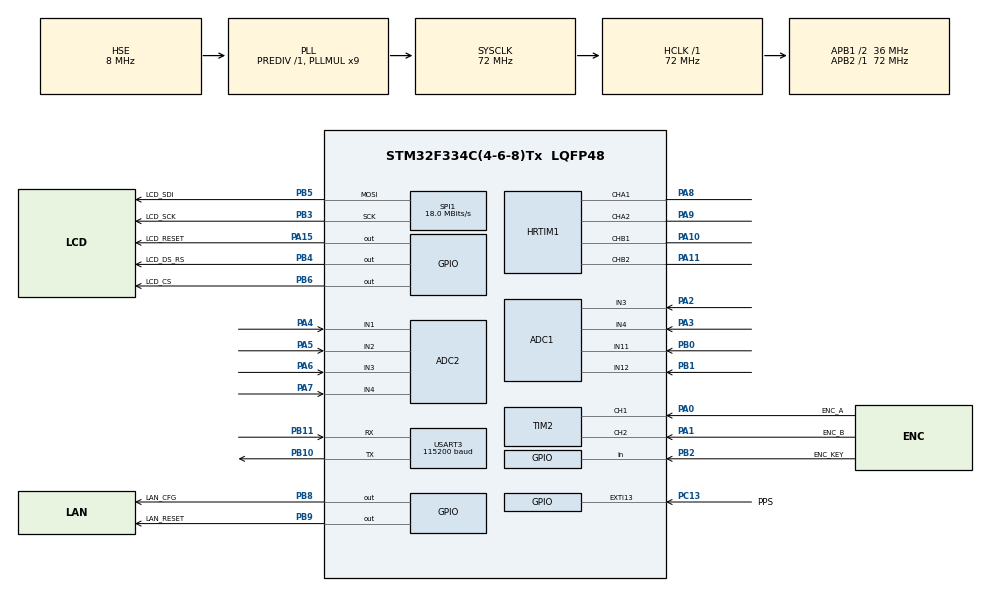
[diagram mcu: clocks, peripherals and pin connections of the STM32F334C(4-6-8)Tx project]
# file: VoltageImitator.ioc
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ADC1.Channel-1\#ChannelRegularConversion=ADC_CHANNEL_3
ADC1.Channel-2\#ChannelRegularConversion=ADC_CHANNEL_11
ADC1.ClockPrescaler=ADC_CLOCK_SYNC_PCLK_DIV1
ADC1.DMAContinuousRequests=ENABLE
ADC1.EnableInjectedConversion=DISABLE
ADC1.ExternalTrigConv=ADC_EXTERNALTRIGCONVHRTIM_TRG1
ADC1.LowPowerAutoWait=DISABLE
ADC1.Mode=ADC_DUALMODE_REGSIMULT
ADC1.NbrOfConversion=2
ADC1.NbrOfConversionFlag=1
ADC1.Offset-1\#ChannelRegularConversion=0
ADC1.Offset-2\#ChannelRegularConversion=0
ADC1.OffsetNumber-1\#ChannelRegularConversion=ADC_OFFSET_NONE
ADC1.OffsetNumber-2\#ChannelRegularConversion=ADC_OFFSET_NONE
ADC1.Rank-1\#ChannelRegularConversion=1
ADC1.Rank-2\#ChannelRegularConversion=2
ADC1.SamplingTime-1\#ChannelRegularConversion=ADC_SAMPLETIME_61CYCLES_5
ADC1.SamplingTime-2\#ChannelRegularConversion=ADC_SAMPLETIME_61CYCLES_5
ADC1.SamplingTimeOPAMP-2\#ChannelRegularConversion=ADC_SAMPLETIME_61CYCLES_5
ADC1.SequencerNbRanks=2
ADC1.SingleDiff-1\#ChannelRegularConversion=ADC_DIFFERENTIAL_ENDED
ADC1.SingleDiff-2\#ChannelRegularConversion=ADC_DIFFERENTIAL_ENDED
ADC1.SubFamily=STM32F334x8
ADC1.master=1
ADC2.Channel-1\#ChannelRegularConversion=ADC_CHANNEL_1
ADC2.Channel-2\#ChannelRegularConversion=ADC_CHANNEL_3
ADC2.ClockPrescaler=ADC_CLOCK_SYNC_PCLK_DIV1
ADC2.DMAContinuousRequests=DISABLE
ADC2.EnableInjectedConversion=DISABLE
ADC2.Mode=ADC_DUALMODE_REGSIMULT
ADC2.NbrOfConversion=2
ADC2.NbrOfConversionFlag=1
ADC2.Offset-1\#ChannelRegularConversion=0
ADC2.Offset-2\#ChannelRegularConversion=0
ADC2.OffsetNumber-1\#ChannelRegularConversion=ADC_OFFSET_NONE
ADC2.OffsetNumber-2\#ChannelRegularConversion=ADC_OFFSET_NONE
ADC2.Rank-1\#ChannelRegularConversion=1
ADC2.Rank-2\#ChannelRegularConversion=2
ADC2.SamplingTime-1\#ChannelRegularConversion=ADC_SAMPLETIME_61CYCLES_5
ADC2.SamplingTime-2\#ChannelRegularConversion=ADC_SAMPLETIME_61CYCLES_5
ADC2.SamplingTimeOPAMP-2\#ChannelRegularConversion=ADC_SAMPLETIME_61CYCLES_5
ADC2.SingleDiff-1\#ChannelRegularConversion=ADC_DIFFERENTIAL_ENDED
ADC2.SingleDiff-2\#ChannelRegularConversion=ADC_DIFFERENTIAL_ENDED
ADC2.SubFamily=STM32F334x8
Dma.ADC1.0.Direction=DMA_PERIPH_TO_MEMORY
Dma.ADC1.0.Instance=DMA1_Channel1
Dma.ADC1.0.MemDataAlignment=DMA_MDATAALIGN_WORD
Dma.ADC1.0.MemInc=DMA_MINC_ENABLE
Dma.ADC1.0.Mode=DMA_CIRCULAR
Dma.ADC1.0.PeriphDataAlignment=DMA_PDATAALIGN_WORD
Dma.ADC1.0.PeriphInc=DMA_PINC_DISABLE
Dma.ADC1.0.Priority=DMA_PRIORITY_VERY_HIGH
Dma.Request0=ADC1
HRTIM1.ADCTrigger1_Source1=HRTIM_ADCTRIGGEREVENT13_MASTER_PERIOD
HRTIM1.ADCTrigger_Id1=HRTIM_ADCTRIGGER_1
HRTIM1.BURSTMODETrigger_Source1=HRTIM_BURSTMODETRIGGER_TIMERA_RESET
HRTIM1.BurstDMAconfig-Output_TA1TA2=HRTIM_TIMERINDEX_TIMER_A
HRTIM1.ClockSource=HRTIM_BURSTMODECLOCKSOURCE_FHRTIM
HRTIM1.CompareUnit1-MasterTimer=__NULL
HRTIM1.CompareUnit1-Output_TA1TA2=HRTIM_COMPAREUNIT_1
HRTIM1.CompareUnit1-Output_TB1TB2=HRTIM_COMPAREUNIT_1
HRTIM1.CompareUnit2-Output_TA1TA2=HRTIM_COMPAREUNIT_2
HRTIM1.CompareValue1-Output_TA1TA2=96
HRTIM1.CompareValue1-Output_TB1TB2=PWM_PERIOD/5
HRTIM1.CompareValue2-Output_TA1TA2=96
HRTIM1.Deadtimeconfig-Output_TA1TA2=__NULL
HRTIM1.Enable=HRTIM_BURSTMODECTL_ENABLED
HRTIM1.Mode=HRTIM_BURSTMODE_CONTINOUS
HRTIM1.NumberADCTriggerSource1=1
HRTIM1.NumberBURSTMODE_TriggerSources=1
HRTIM1.NumberDMARequests_TA=0
HRTIM1.NumberRegisters_BURSTDMA-Output_TA1TA2=2
HRTIM1.NumberResetSource1-Output_TA1TA2=1
HRTIM1.NumberResetSource1-Output_TB1TB2=1
HRTIM1.NumberResetSource2_TA=1
HRTIM1.NumberSetSource1-Output_TA1TA2=1
HRTIM1.NumberSetSource1-Output_TB1TB2=1
HRTIM1.NumberSetSource2_TA=1
HRTIM1.NumberUpdateTrigger-Output_TA1TA2=1
HRTIM1.Periode_MASTER=PWM_PERIOD
HRTIM1.Periode_TA=PWM_PERIOD
HRTIM1.Periode_TB=PWM_PERIOD
HRTIM1.Polarity1-Output_TA1TA2=HRTIM_OUTPUTPOLARITY_HIGH
HRTIM1.Polarity2-Output_TA1TA2=HRTIM_OUTPUTPOLARITY_HIGH
HRTIM1.PreloadEnable-MasterTimer=HRTIM_PRELOAD_ENABLED
HRTIM1.PreloadEnable-Output_TA1TA2=HRTIM_PRELOAD_ENABLED
HRTIM1.PreloadEnable-Output_TB1TB2=HRTIM_PRELOAD_ENABLED
HRTIM1.PrescalerRatio_MASTER=HRTIM_PRESCALERRATIO_MUL4
HRTIM1.PrescalerRatio_TA=HRTIM_PRESCALERRATIO_MUL32
HRTIM1.RegistersToUpdate_Source1-Output_TA1TA2=HRTIM_BURSTDMA_CMP1
HRTIM1.RegistersToUpdate_Source2-Output_TA1TA2=HRTIM_BURSTDMA_CMP2
HRTIM1.ResetOutput1_Source1-Output_TA1TA2=HRTIM_OUTPUTRESET_TIMPER
HRTIM1.ResetOutput1_Source1-Output_TB1TB2=HRTIM_OUTPUTRESET_TIMCMP1
HRTIM1.ResetOutput2_Source1-Output_TA1TA2=HRTIM_OUTPUTRESET_TIMPER
HRTIM1.ResetUpdate-Output_TA1TA2=HRTIM_TIMUPDATEONRESET_ENABLED
HRTIM1.ResetUpdate-Output_TB1TB2=HRTIM_TIMUPDATEONRESET_ENABLED
HRTIM1.SetOutput1_Source1-Output_TA1TA2=HRTIM_OUTPUTSET_TIMCMP1
HRTIM1.SetOutput1_Source1-Output_TB1TB2=HRTIM_OUTPUTSET_TIMPER
HRTIM1.SetOutput2_Source1-Output_TA1TA2=HRTIM_OUTPUTSET_TIMCMP2
HRTIM1.UpdateGating-Output_TA1TA2=HRTIM_UPDATEGATING_INDEPENDENT
HRTIM1.UpdateTrigger1-Output_TA1TA2=HRTIM_TIMUPDATETRIGGER_TIMER_A
Mcu.Family=STM32F3
Mcu.Name=STM32F334C(4-6-8)Tx
Mcu.Package=LQFP48
Mcu.UserConstants=PWM_PERIOD,46080
NVIC.DMA1_Channel1_IRQn=true\:0\:0\:false\:false\:true\:false\:true\:true
NVIC.PriorityGroup=NVIC_PRIORITYGROUP_4
NVIC.TIM1_UP_TIM16_IRQn=true\:15\:0\:false\:false\:true\:false\:true\:true
NVIC.TimeBase=TIM1_UP_TIM16_IRQn
NVIC.TimeBaseIP=TIM1
NVIC.USART3_IRQn=true\:0\:0\:false\:false\:true\:true\:true\:true
PA0.GPIO_Label=ENC_A
PA0.Signal=S_TIM2_CH1_ETR
PA1.GPIO_Label=ENC_B
PA1.Signal=S_TIM2_CH2
PA10.Mode=Output_TB1TB2
PA10.Signal=HRTIM1_CHB1
PA11.Mode=Output_TB1TB2
PA11.Signal=HRTIM1_CHB2
PA13.Mode=Serial_Wire
PA13.Signal=SYS_JTMS-SWDIO
PA14.Mode=Serial_Wire
PA14.Signal=SYS_JTCK-SWCLK
PA15.GPIO_Label=LCD_RESET
PA15.Signal=GPIO_Output
PA2.Mode=IN3-Differential
PA2.Signal=ADC1_IN3
PA3.Mode=IN3-Differential
PA3.Signal=ADC1_IN4
PA4.Mode=IN1-Differential
PA4.Signal=ADC2_IN1
PA5.Mode=IN1-Differential
PA5.Signal=ADC2_IN2
PA6.Mode=IN3-Differential
PA6.Signal=ADC2_IN3
PA7.Mode=IN3-Differential
PA7.Signal=ADC2_IN4
PA8.Mode=Output_TA1TA2
PA8.Signal=HRTIM1_CHA1
PA9.Mode=Output_TA1TA2
PA9.Signal=HRTIM1_CHA2
PB0.Mode=IN11-Differential
PB0.Signal=ADC1_IN11
PB1.Mode=IN11-Differential
PB1.Signal=ADC1_IN12
PB10.Mode=Asynchronous
PB10.Signal=USART3_TX
PB11.Mode=Asynchronous
PB11.Signal=USART3_RX
PB2.GPIO_Label=ENC_KEY
PB2.Signal=GPIO_Input
PB3.GPIO_Label=LCD_SCK
PB3.Mode=TX_Only_Simplex_Unidirect_Master
PB3.Signal=SPI1_SCK
PB4.GPIO_Label=LCD_DS_RS
PB4.Signal=GPIO_Output
PB5.GPIO_Label=LCD_SDI
PB5.Mode=TX_Only_Simplex_Unidirect_Master
PB5.Signal=SPI1_MOSI
PB6.GPIO_Label=LCD_CS
PB6.Signal=GPIO_Output
PB8.GPIO_Label=LAN_CFG
PB8.PinState=GPIO_PIN_SET
PB8.Signal=GPIO_Output
PB9.GPIO_Label=LAN_RESET
PB9.PinState=GPIO_PIN_SET
PB9.Signal=GPIO_Output
PC13.GPIO_Label=PPS
PC13.Signal=GPXTI13
PC14\ /\ OSC32_IN.Mode=LSE-External-Oscillator
PC14\ /\ OSC32_IN.Signal=RCC_OSC32_IN
PC15\ /\ OSC32_OUT.Mode=LSE-External-Oscillator
PC15\ /\ OSC32_OUT.Signal=RCC_OSC32_OUT
PF0\ /\ OSC_IN.Mode=HSE-External-Oscillator
PF0\ /\ OSC_IN.Signal=RCC_OSC_IN
PF1\ /\ OSC_OUT.Mode=HSE-External-Oscillator
PF1\ /\ OSC_OUT.Signal=RCC_OSC_OUT
ProjectManager.HeapSize=0x200
ProjectManager.StackSize=0x400
ProjectManager.TargetToolchain=STM32CubeIDE
RCC.AHBFreq_Value=72000000
RCC.APB1CLKDivider=RCC_HCLK_DIV2
RCC.APB1Freq_Value=36000000
RCC.APB1TimFreq_Value=72000000
RCC.APB2Freq_Value=72000000
RCC.APB2TimFreq_Value=72000000
RCC.CortexFreq_Value=72000000
RCC.HCLKFreq_Value=72000000
RCC.HRTIMSelection=RCC_HRTIM1CLK_PLLCLK
RCC.HSE_VALUE=8000000
RCC.HSI_VALUE=8000000
RCC.PLLMUL=RCC_PLL_MUL9
RCC.PLLSourceVirtual=RCC_PLLSOURCE_HSE
RCC.SYSCLKFreq_VALUE=72000000
RCC.SYSCLKSourceVirtual=RCC_SYSCLKSOURCE_PLLCLK
SH.S_TIM2_CH1_ETR.0=TIM2_CH1,Encoder_Interface
SH.S_TIM2_CH2.0=TIM2_CH2,Encoder_Interface
SPI1.BaudRatePrescaler=SPI_BAUDRATEPRESCALER_4
SPI1.CalculateBaudRate=18.0 MBits/s
SPI1.DataSize=SPI_DATASIZE_8BIT
SPI1.Direction=SPI_DIRECTION_2LINES
SPI1.Mode=SPI_MODE_MASTER
SPI1.VirtualType=VM_MASTER
USART3.BaudRate=115200
USART3.VirtualMode-Asynchronous=VM_ASYNC
VP_HRTIM1_VS_hrtimMasterTimerNoOutput.Mode=MasterTimer
VP_SYS_VS_tim1.Mode=TIM1
board=custom

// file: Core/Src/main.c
/* USER CODE BEGIN Header */
/**
  ******************************************************************************
  * @file           : main.c
  * @brief          : Main program body
  ******************************************************************************
  * @attention
  *
  * Copyright (c) 2024 STMicroelectronics.
  * All rights reserved.
  *
  * This software is licensed under terms that can be found in the LICENSE file
  * in the root directory of this software component.
  * If no LICENSE file comes with this software, it is provided AS-IS.
  *
  ******************************************************************************
  */
/* USER CODE END Header */
#include "main.h"

/* USER CODE BEGIN Includes */
#include "FreeRTOS.h"
#include "task.h"
#include "uart_task.h"
#include "wave_generator_task.h"
/* USER CODE END Includes */

ADC_HandleTypeDef hadc1;
ADC_HandleTypeDef hadc2;
DMA_HandleTypeDef hdma_adc1;

HRTIM_HandleTypeDef hhrtim1;

SPI_HandleTypeDef hspi1;

TIM_HandleTypeDef htim2;

UART_HandleTypeDef huart3;

void SystemClock_Config(void);
static void MX_GPIO_Init(void);
static void MX_DMA_Init(void);
static void MX_HRTIM1_Init(void);
static void MX_ADC1_Init(void);
static void MX_ADC2_Init(void);
static void MX_USART3_UART_Init(void);
static void MX_TIM2_Init(void);
static void MX_SPI1_Init(void);

int main(void)
{

  /* MCU Configuration--------------------------------------------------------*/

  /* Reset of all peripherals, Initializes the Flash interface and the Systick. */
  HAL_Init();

  /* Configure the system clock */
  SystemClock_Config();

  /* Initialize all configured peripherals */
  MX_GPIO_Init();
  MX_DMA_Init();
  MX_HRTIM1_Init();
  MX_ADC1_Init();
  MX_ADC2_Init();
  MX_USART3_UART_Init();
  MX_TIM2_Init();
  MX_SPI1_Init();
  /* USER CODE BEGIN 2 */
  /*
   * Прив'язка чотирьох каналів.
   *
   *  ch | вихід HRTIM | таймер | compare | зворотний зв'язок
   * ----+-------------+--------+---------+---------------------------------
   *   0 | TA1  (PA8)  |   A    |  CMP1   | ADC1 rank1, CH3 diff PA2/PA3  <- розпаяно
   *   1 | TA2  (PA9)  |   A    |  CMP2   | ADC1 rank2, CH11     PB0
   *   2 | TB1  (PA10) |   B    |  CMP1   | ADC2 rank1, CH1 diff PA4
   *   3 | TB2  (PA11) |   B    |  CMP2   | ADC2 rank2, CH3 diff PA6
   *
   * Два виходи на один таймер - це нормально: TA1 керується CMP1, TA2 - CMP2,
   * період у них спільний, а шпаруватість незалежна. Так із двох таймерів
   * виходить чотири незалежні канали.
   */
  WaveGeneratorHardwareConfig wave_generator_hw = {
      .adc_master = &hadc1,
      .adc_slave  = &hadc2,
      .hrtim      = &hhrtim1,
      .pwm_output_mask = HRTIM_OUTPUT_TA1 | HRTIM_OUTPUT_TA2 |
                         HRTIM_OUTPUT_TB1 | HRTIM_OUTPUT_TB2,
      .counter_start_mask = HRTIM_TIMERID_MASTER | HRTIM_TIMERID_TIMER_A |
                            HRTIM_TIMERID_TIMER_B,
      .sampling_trigger_index = HRTIM_ADCTRIGGER_1,
      .channel = {
          [WG_CH_UA] = {
              .hrtim_timer_index  = HRTIM_TIMERINDEX_TIMER_A,
              .hrtim_compare_unit = HRTIM_COMPAREUNIT_1,
              .hrtim_output       = HRTIM_OUTPUT_TA1,
              .feedback_source    = WAVE_GENERATOR_FEEDBACK_MASTER_RANK1,
              .feedback_enabled   = (WG_CH0_FEEDBACK_ENABLED != 0),
          },
          [WG_CH_UB] = {
              .hrtim_timer_index  = HRTIM_TIMERINDEX_TIMER_A,
              .hrtim_compare_unit = HRTIM_COMPAREUNIT_2,
              .hrtim_output       = HRTIM_OUTPUT_TA2,
              .feedback_source    = WAVE_GENERATOR_FEEDBACK_MASTER_RANK2,
              .feedback_enabled   = (WG_CH1_FEEDBACK_ENABLED != 0),
          },
          [WG_CH_UC] = {
              .hrtim_timer_index  = HRTIM_TIMERINDEX_TIMER_B,
              .hrtim_compare_unit = HRTIM_COMPAREUNIT_1,
              .hrtim_output       = HRTIM_OUTPUT_TB1,
              .feedback_source    = WAVE_GENERATOR_FEEDBACK_SLAVE_RANK1,
              .feedback_enabled   = (WG_CH2_FEEDBACK_ENABLED != 0),
          },
          [WG_CH_3U0] = {
              .hrtim_timer_index  = HRTIM_TIMERINDEX_TIMER_B,
              .hrtim_compare_unit = HRTIM_COMPAREUNIT_2,
              .hrtim_output       = HRTIM_OUTPUT_TB2,
              .feedback_source    = WAVE_GENERATOR_FEEDBACK_SLAVE_RANK2,
              .feedback_enabled   = (WG_CH3_FEEDBACK_ENABLED != 0),
          },
      },
  };
  UartControlHardwareConfig uart_control_hw = {
      .uart = &huart3,
      .irqn = USART3_IRQn,
  };

  WaveGenerator_BindHardware(&wave_generator_hw);
  WaveGenerator_Init();

  UartControl_BindHardware(&uart_control_hw);
  UartControl_Init();
  /* USER CODE END 2 */

  /* Infinite loop */
  /* USER CODE BEGIN WHILE */

  vTaskStartScheduler();
  while (1)
  {
    /* USER CODE END WHILE */

  }
}

void SystemClock_Config(void)
{
  RCC_OscInitTypeDef RCC_OscInitStruct = {0};
  RCC_ClkInitTypeDef RCC_ClkInitStruct = {0};
  RCC_PeriphCLKInitTypeDef PeriphClkInit = {0};

  /** Initializes the RCC Oscillators according to the specified parameters
  * in the RCC_OscInitTypeDef structure.
  */
  RCC_OscInitStruct.OscillatorType = RCC_OSCILLATORTYPE_HSE;
  RCC_OscInitStruct.HSEState = RCC_HSE_ON;
  RCC_OscInitStruct.HSEPredivValue = RCC_HSE_PREDIV_DIV1;
  RCC_OscInitStruct.HSIState = RCC_HSI_ON;
  RCC_OscInitStruct.PLL.PLLState = RCC_PLL_ON;
  RCC_OscInitStruct.PLL.PLLSource = RCC_PLLSOURCE_HSE;
  RCC_OscInitStruct.PLL.PLLMUL = RCC_PLL_MUL9;
  if (HAL_RCC_OscConfig(&RCC_OscInitStruct) != HAL_OK)
  {
    Error_Handler();
  }

  /** Initializes the CPU, AHB and APB buses clocks
  */
  RCC_ClkInitStruct.ClockType = RCC_CLOCKTYPE_HCLK|RCC_CLOCKTYPE_SYSCLK
                              |RCC_CLOCKTYPE_PCLK1|RCC_CLOCKTYPE_PCLK2;
  RCC_ClkInitStruct.SYSCLKSource = RCC_SYSCLKSOURCE_PLLCLK;
  RCC_ClkInitStruct.AHBCLKDivider = RCC_SYSCLK_DIV1;
  RCC_ClkInitStruct.APB1CLKDivider = RCC_HCLK_DIV2;
  RCC_ClkInitStruct.APB2CLKDivider = RCC_HCLK_DIV1;

  if (HAL_RCC_ClockConfig(&RCC_ClkInitStruct, FLASH_LATENCY_2) != HAL_OK)
  {
    Error_Handler();
  }
  PeriphClkInit.PeriphClockSelection = RCC_PERIPHCLK_HRTIM1;
  PeriphClkInit.Hrtim1ClockSelection = RCC_HRTIM1CLK_PLLCLK;
  if (HAL_RCCEx_PeriphCLKConfig(&PeriphClkInit) != HAL_OK)
  {
    Error_Handler();
  }
}

static void MX_ADC1_Init(void)
{

  ADC_MultiModeTypeDef multimode = {0};
  ADC_ChannelConfTypeDef sConfig = {0};

  /** Common config
  */
  hadc1.Instance = ADC1;
  hadc1.Init.ClockPrescaler = ADC_CLOCK_SYNC_PCLK_DIV1;
  hadc1.Init.Resolution = ADC_RESOLUTION_12B;
  hadc1.Init.ScanConvMode = ADC_SCAN_ENABLE;
  hadc1.Init.ContinuousConvMode = DISABLE;
  hadc1.Init.DiscontinuousConvMode = DISABLE;
  hadc1.Init.ExternalTrigConvEdge = ADC_EXTERNALTRIGCONVEDGE_RISING;
  hadc1.Init.ExternalTrigConv = ADC_EXTERNALTRIGCONVHRTIM_TRG1;
  hadc1.Init.DataAlign = ADC_DATAALIGN_RIGHT;
  hadc1.Init.NbrOfConversion = 2;
  hadc1.Init.DMAContinuousRequests = ENABLE;
  hadc1.Init.EOCSelection = ADC_EOC_SINGLE_CONV;
  hadc1.Init.LowPowerAutoWait = DISABLE;
  hadc1.Init.Overrun = ADC_OVR_DATA_OVERWRITTEN;
  if (HAL_ADC_Init(&hadc1) != HAL_OK)
  {
    Error_Handler();
  }

  /** Configure the ADC multi-mode
  */
  multimode.Mode = ADC_DUALMODE_REGSIMULT;
  multimode.DMAAccessMode = ADC_DMAACCESSMODE_12_10_BITS;
  multimode.TwoSamplingDelay = ADC_TWOSAMPLINGDELAY_1CYCLE;
  if (HAL_ADCEx_MultiModeConfigChannel(&hadc1, &multimode) != HAL_OK)
  {
    Error_Handler();
  }

  /** Configure Regular Channel
  */
  sConfig.Channel = ADC_CHANNEL_3;
  sConfig.Rank = ADC_REGULAR_RANK_1;
  sConfig.SingleDiff = ADC_DIFFERENTIAL_ENDED;
  sConfig.SamplingTime = ADC_SAMPLETIME_61CYCLES_5;
  sConfig.OffsetNumber = ADC_OFFSET_NONE;
  sConfig.Offset = 0;
  if (HAL_ADC_ConfigChannel(&hadc1, &sConfig) != HAL_OK)
  {
    Error_Handler();
  }

  /** Configure Regular Channel
  */
  sConfig.Channel = ADC_CHANNEL_11;
  sConfig.Rank = ADC_REGULAR_RANK_2;
  if (HAL_ADC_ConfigChannel(&hadc1, &sConfig) != HAL_OK)
  {
    Error_Handler();
  }
  /* USER CODE BEGIN ADC1_Init 2 */
  /* Час вибірки скорочено: при WG_ADC_TRIGGERS_PER_PWM тригерах на період
   * вікно між ними 2.5 мкс, а за нього треба встигнути два ранги. З рідними
   * 61.5 циклами це 2.06 мкс із 2.5 - будь-який джитер призводить до втрати
   * тригера, а втрачений тригер зриває вирівнювання буфера DMA і зупиняє
   * контур керування. Деталі - розділ 1 у wave_generator_config.h. */
  sConfig.SingleDiff   = ADC_DIFFERENTIAL_ENDED;
  sConfig.OffsetNumber = ADC_OFFSET_NONE;
  sConfig.Offset       = 0;
  sConfig.SamplingTime = WG_ADC_SAMPLETIME;

  sConfig.Channel = ADC_CHANNEL_3;
  sConfig.Rank    = ADC_REGULAR_RANK_1;
  if (HAL_ADC_ConfigChannel(&hadc1, &sConfig) != HAL_OK)
  {
    Error_Handler();
  }

  sConfig.Channel = ADC_CHANNEL_11;
  sConfig.Rank    = ADC_REGULAR_RANK_2;
  if (HAL_ADC_ConfigChannel(&hadc1, &sConfig) != HAL_OK)
  {
    Error_Handler();
  }
  /* USER CODE END ADC1_Init 2 */

}

static void MX_ADC2_Init(void)
{

  ADC_ChannelConfTypeDef sConfig = {0};

  /** Common config
  */
  hadc2.Instance = ADC2;
  hadc2.Init.ClockPrescaler = ADC_CLOCK_SYNC_PCLK_DIV1;
  hadc2.Init.Resolution = ADC_RESOLUTION_12B;
  hadc2.Init.ScanConvMode = ADC_SCAN_ENABLE;
  hadc2.Init.ContinuousConvMode = DISABLE;
  hadc2.Init.DiscontinuousConvMode = DISABLE;
  hadc2.Init.DataAlign = ADC_DATAALIGN_RIGHT;
  hadc2.Init.NbrOfConversion = 2;
  hadc2.Init.DMAContinuousRequests = DISABLE;
  hadc2.Init.EOCSelection = ADC_EOC_SINGLE_CONV;
  hadc2.Init.LowPowerAutoWait = DISABLE;
  hadc2.Init.Overrun = ADC_OVR_DATA_OVERWRITTEN;
  if (HAL_ADC_Init(&hadc2) != HAL_OK)
  {
    Error_Handler();
  }

  /** Configure Regular Channel
  */
  sConfig.Channel = ADC_CHANNEL_1;
  sConfig.Rank = ADC_REGULAR_RANK_1;
  sConfig.SingleDiff = ADC_DIFFERENTIAL_ENDED;
  sConfig.SamplingTime = ADC_SAMPLETIME_61CYCLES_5;
  sConfig.OffsetNumber = ADC_OFFSET_NONE;
  sConfig.Offset = 0;
  if (HAL_ADC_ConfigChannel(&hadc2, &sConfig) != HAL_OK)
  {
    Error_Handler();
  }

  /** Configure Regular Channel
  */
  sConfig.Channel = ADC_CHANNEL_3;
  sConfig.Rank = ADC_REGULAR_RANK_2;
  if (HAL_ADC_ConfigChannel(&hadc2, &sConfig) != HAL_OK)
  {
    Error_Handler();
  }
  /* USER CODE BEGIN ADC2_Init 2 */
  /* Те саме для slave-АЦП - див. коментар у ADC1_Init 2. */
  sConfig.SingleDiff   = ADC_DIFFERENTIAL_ENDED;
  sConfig.OffsetNumber = ADC_OFFSET_NONE;
  sConfig.Offset       = 0;
  sConfig.SamplingTime = WG_ADC_SAMPLETIME;

  sConfig.Channel = ADC_CHANNEL_1;
  sConfig.Rank    = ADC_REGULAR_RANK_1;
  if (HAL_ADC_ConfigChannel(&hadc2, &sConfig) != HAL_OK)
  {
    Error_Handler();
  }

  sConfig.Channel = ADC_CHANNEL_3;
  sConfig.Rank    = ADC_REGULAR_RANK_2;
  if (HAL_ADC_ConfigChannel(&hadc2, &sConfig) != HAL_OK)
  {
    Error_Handler();
  }
  /* USER CODE END ADC2_Init 2 */

}

static void MX_HRTIM1_Init(void)
{

  HRTIM_ADCTriggerCfgTypeDef pADCTriggerCfg = {0};
  HRTIM_BurstModeCfgTypeDef pBurstModeCfg = {0};
  HRTIM_TimeBaseCfgTypeDef pTimeBaseCfg = {0};
  HRTIM_TimerCfgTypeDef pTimerCfg = {0};
  HRTIM_CompareCfgTypeDef pCompareCfg = {0};
  HRTIM_OutputCfgTypeDef pOutputCfg = {0};

  hhrtim1.Instance = HRTIM1;
  hhrtim1.Init.HRTIMInterruptResquests = HRTIM_IT_NONE;
  hhrtim1.Init.SyncOptions = HRTIM_SYNCOPTION_NONE;
  if (HAL_HRTIM_Init(&hhrtim1) != HAL_OK)
  {
    Error_Handler();
  }
  if (HAL_HRTIM_DLLCalibrationStart(&hhrtim1, HRTIM_CALIBRATIONRATE_14) != HAL_OK)
  {
    Error_Handler();
  }
  if (HAL_HRTIM_PollForDLLCalibration(&hhrtim1, 10) != HAL_OK)
  {
    Error_Handler();
  }
  pADCTriggerCfg.UpdateSource = HRTIM_ADCTRIGGERUPDATE_MASTER;
  pADCTriggerCfg.Trigger = HRTIM_ADCTRIGGEREVENT13_MASTER_PERIOD;
  if (HAL_HRTIM_ADCTriggerConfig(&hhrtim1, HRTIM_ADCTRIGGER_1, &pADCTriggerCfg) != HAL_OK)
  {
    Error_Handler();
  }
  pBurstModeCfg.Mode = HRTIM_BURSTMODE_CONTINOUS;
  pBurstModeCfg.ClockSource = HRTIM_BURSTMODECLOCKSOURCE_FHRTIM;
  pBurstModeCfg.Prescaler = HRTIM_BURSTMODEPRESCALER_DIV1;
  pBurstModeCfg.PreloadEnable = HRIM_BURSTMODEPRELOAD_DISABLED;
  pBurstModeCfg.Trigger = HRTIM_BURSTMODETRIGGER_TIMERA_RESET;
  pBurstModeCfg.IdleDuration = 0x0000;
  pBurstModeCfg.Period = 0x0001;
  if (HAL_HRTIM_BurstModeConfig(&hhrtim1, &pBurstModeCfg) != HAL_OK)
  {
    Error_Handler();
  }
  pTimeBaseCfg.Period = PWM_PERIOD;
  pTimeBaseCfg.RepetitionCounter = 0x00;
  pTimeBaseCfg.PrescalerRatio = HRTIM_PRESCALERRATIO_MUL4;
  pTimeBaseCfg.Mode = HRTIM_MODE_CONTINUOUS;
  if (HAL_HRTIM_TimeBaseConfig(&hhrtim1, HRTIM_TIMERINDEX_MASTER, &pTimeBaseCfg) != HAL_OK)
  {
    Error_Handler();
  }
  pTimerCfg.InterruptRequests = HRTIM_MASTER_IT_NONE;
  pTimerCfg.DMARequests = HRTIM_MASTER_DMA_NONE;
  pTimerCfg.DMASrcAddress = 0x0000;
  pTimerCfg.DMADstAddress = 0x0000;
  pTimerCfg.DMASize = 0x1;
  pTimerCfg.HalfModeEnable = HRTIM_HALFMODE_DISABLED;
  pTimerCfg.StartOnSync = HRTIM_SYNCSTART_DISABLED;
  pTimerCfg.ResetOnSync = HRTIM_SYNCRESET_DISABLED;
  pTimerCfg.DACSynchro = HRTIM_DACSYNC_NONE;
  pTimerCfg.PreloadEnable = HRTIM_PRELOAD_ENABLED;
  pTimerCfg.UpdateGating = HRTIM_UPDATEGATING_INDEPENDENT;
  pTimerCfg.BurstMode = HRTIM_TIMERBURSTMODE_MAINTAINCLOCK;
  pTimerCfg.RepetitionUpdate = HRTIM_UPDATEONREPETITION_DISABLED;
  if (HAL_HRTIM_WaveformTimerConfig(&hhrtim1, HRTIM_TIMERINDEX_MASTER, &pTimerCfg) != HAL_OK)
  {
    Error_Handler();
  }
  pTimeBaseCfg.PrescalerRatio = HRTIM_PRESCALERRATIO_MUL32;
  if (HAL_HRTIM_TimeBaseConfig(&hhrtim1, HRTIM_TIMERINDEX_TIMER_A, &pTimeBaseCfg) != HAL_OK)
  {
    Error_Handler();
  }
  pTimerCfg.InterruptRequests = HRTIM_TIM_IT_NONE;
  pTimerCfg.DMARequests = HRTIM_TIM_DMA_NONE;
  pTimerCfg.PushPull = HRTIM_TIMPUSHPULLMODE_DISABLED;
  pTimerCfg.FaultEnable = HRTIM_TIMFAULTENABLE_NONE;
  pTimerCfg.FaultLock = HRTIM_TIMFAULTLOCK_READWRITE;
  pTimerCfg.DeadTimeInsertion = HRTIM_TIMDEADTIMEINSERTION_DISABLED;
  pTimerCfg.DelayedProtectionMode = HRTIM_TIMER_A_B_C_DELAYEDPROTECTION_DISABLED;
  pTimerCfg.UpdateTrigger = HRTIM_TIMUPDATETRIGGER_TIMER_A;
  pTimerCfg.ResetTrigger = HRTIM_TIMRESETTRIGGER_NONE;
  pTimerCfg.ResetUpdate = HRTIM_TIMUPDATEONRESET_ENABLED;
  if (HAL_HRTIM_WaveformTimerConfig(&hhrtim1, HRTIM_TIMERINDEX_TIMER_A, &pTimerCfg) != HAL_OK)
  {
    Error_Handler();
  }
  pTimerCfg.UpdateTrigger = HRTIM_TIMUPDATETRIGGER_NONE;
  if (HAL_HRTIM_WaveformTimerConfig(&hhrtim1, HRTIM_TIMERINDEX_TIMER_B, &pTimerCfg) != HAL_OK)
  {
    Error_Handler();
  }
  pCompareCfg.CompareValue = 96;
  if (HAL_HRTIM_WaveformCompareConfig(&hhrtim1, HRTIM_TIMERINDEX_TIMER_A, HRTIM_COMPAREUNIT_1, &pCompareCfg) != HAL_OK)
  {
    Error_Handler();
  }
  pCompareCfg.AutoDelayedMode = HRTIM_AUTODELAYEDMODE_REGULAR;
  pCompareCfg.AutoDelayedTimeout = 0x0000;

  if (HAL_HRTIM_WaveformCompareConfig(&hhrtim1, HRTIM_TIMERINDEX_TIMER_A, HRTIM_COMPAREUNIT_2, &pCompareCfg) != HAL_OK)
  {
    Error_Handler();
  }
  if (HAL_HRTIM_BurstDMAConfig(&hhrtim1, HRTIM_TIMERINDEX_TIMER_A, HRTIM_BURSTDMA_CMP1|HRTIM_BURSTDMA_CMP2) != HAL_OK)
  {
    Error_Handler();
  }
  pOutputCfg.Polarity = HRTIM_OUTPUTPOLARITY_HIGH;
  pOutputCfg.SetSource = HRTIM_OUTPUTSET_TIMCMP1;
  pOutputCfg.ResetSource = HRTIM_OUTPUTRESET_TIMPER;
  pOutputCfg.IdleMode = HRTIM_OUTPUTIDLEMODE_NONE;
  pOutputCfg.IdleLevel = HRTIM_OUTPUTIDLELEVEL_INACTIVE;
  pOutputCfg.FaultLevel = HRTIM_OUTPUTFAULTLEVEL_NONE;
  pOutputCfg.ChopperModeEnable = HRTIM_OUTPUTCHOPPERMODE_DISABLED;
  pOutputCfg.BurstModeEntryDelayed = HRTIM_OUTPUTBURSTMODEENTRY_REGULAR;
  if (HAL_HRTIM_WaveformOutputConfig(&hhrtim1, HRTIM_TIMERINDEX_TIMER_A, HRTIM_OUTPUT_TA1, &pOutputCfg) != HAL_OK)
  {
    Error_Handler();
  }
  pOutputCfg.SetSource = HRTIM_OUTPUTSET_TIMPER;
  pOutputCfg.ResetSource = HRTIM_OUTPUTRESET_TIMCMP1;
  if (HAL_HRTIM_WaveformOutputConfig(&hhrtim1, HRTIM_TIMERINDEX_TIMER_B, HRTIM_OUTPUT_TB1, &pOutputCfg) != HAL_OK)
  {
    Error_Handler();
  }
  pOutputCfg.SetSource = HRTIM_OUTPUTSET_TIMCMP2;
  pOutputCfg.ResetSource = HRTIM_OUTPUTRESET_TIMPER;
  if (HAL_HRTIM_WaveformOutputConfig(&hhrtim1, HRTIM_TIMERINDEX_TIMER_A, HRTIM_OUTPUT_TA2, &pOutputCfg) != HAL_OK)
  {
    Error_Handler();
  }
  pOutputCfg.SetSource = HRTIM_OUTPUTSET_NONE;
  pOutputCfg.ResetSource = HRTIM_OUTPUTRESET_NONE;
  if (HAL_HRTIM_WaveformOutputConfig(&hhrtim1, HRTIM_TIMERINDEX_TIMER_B, HRTIM_OUTPUT_TB2, &pOutputCfg) != HAL_OK)
  {
    Error_Handler();
  }
  if (HAL_HRTIM_TimeBaseConfig(&hhrtim1, HRTIM_TIMERINDEX_TIMER_B, &pTimeBaseCfg) != HAL_OK)
  {
    Error_Handler();
  }
  pCompareCfg.CompareValue = PWM_PERIOD/5;
  if (HAL_HRTIM_WaveformCompareConfig(&hhrtim1, HRTIM_TIMERINDEX_TIMER_B, HRTIM_COMPAREUNIT_1, &pCompareCfg) != HAL_OK)
  {
    Error_Handler();
  }
  HAL_HRTIM_MspPostInit(&hhrtim1);

}

static void MX_SPI1_Init(void)
{

  /* SPI1 parameter configuration*/
  hspi1.Instance = SPI1;
  hspi1.Init.Mode = SPI_MODE_MASTER;
  hspi1.Init.Direction = SPI_DIRECTION_2LINES;
  hspi1.Init.DataSize = SPI_DATASIZE_8BIT;
  hspi1.Init.CLKPolarity = SPI_POLARITY_LOW;
  hspi1.Init.CLKPhase = SPI_PHASE_1EDGE;
  hspi1.Init.NSS = SPI_NSS_SOFT;
  hspi1.Init.BaudRatePrescaler = SPI_BAUDRATEPRESCALER_4;
  hspi1.Init.FirstBit = SPI_FIRSTBIT_MSB;
  hspi1.Init.TIMode = SPI_TIMODE_DISABLE;
  hspi1.Init.CRCCalculation = SPI_CRCCALCULATION_DISABLE;
  hspi1.Init.CRCPolynomial = 7;
  hspi1.Init.CRCLength = SPI_CRC_LENGTH_DATASIZE;
  hspi1.Init.NSSPMode = SPI_NSS_PULSE_ENABLE;
  if (HAL_SPI_Init(&hspi1) != HAL_OK)
  {
    Error_Handler();
  }

}

static void MX_TIM2_Init(void)
{

  TIM_Encoder_InitTypeDef sConfig = {0};
  TIM_MasterConfigTypeDef sMasterConfig = {0};

  htim2.Instance = TIM2;
  htim2.Init.Prescaler = 0;
  htim2.Init.CounterMode = TIM_COUNTERMODE_UP;
  htim2.Init.Period = 4294967295;
  htim2.Init.ClockDivision = TIM_CLOCKDIVISION_DIV1;
  htim2.Init.AutoReloadPreload = TIM_AUTORELOAD_PRELOAD_DISABLE;
  sConfig.EncoderMode = TIM_ENCODERMODE_TI1;
  sConfig.IC1Polarity = TIM_ICPOLARITY_RISING;
  sConfig.IC1Selection = TIM_ICSELECTION_DIRECTTI;
  sConfig.IC1Prescaler = TIM_ICPSC_DIV1;
  sConfig.IC1Filter = 0;
  sConfig.IC2Polarity = TIM_ICPOLARITY_RISING;
  sConfig.IC2Selection = TIM_ICSELECTION_DIRECTTI;
  sConfig.IC2Prescaler = TIM_ICPSC_DIV1;
  sConfig.IC2Filter = 0;
  if (HAL_TIM_Encoder_Init(&htim2, &sConfig) != HAL_OK)
  {
    Error_Handler();
  }
  sMasterConfig.MasterOutputTrigger = TIM_TRGO_RESET;
  sMasterConfig.MasterSlaveMode = TIM_MASTERSLAVEMODE_DISABLE;
  if (HAL_TIMEx_MasterConfigSynchronization(&htim2, &sMasterConfig) != HAL_OK)
  {
    Error_Handler();
  }

}

static void MX_USART3_UART_Init(void)
{

  huart3.Instance = USART3;
  huart3.Init.BaudRate = 115200;
  huart3.Init.WordLength = UART_WORDLENGTH_8B;
  huart3.Init.StopBits = UART_STOPBITS_1;
  huart3.Init.Parity = UART_PARITY_NONE;
  huart3.Init.Mode = UART_MODE_TX_RX;
  huart3.Init.HwFlowCtl = UART_HWCONTROL_NONE;
  huart3.Init.OverSampling = UART_OVERSAMPLING_16;
  huart3.Init.OneBitSampling = UART_ONE_BIT_SAMPLE_DISABLE;
  huart3.AdvancedInit.AdvFeatureInit = UART_ADVFEATURE_NO_INIT;
  if (HAL_UART_Init(&huart3) != HAL_OK)
  {
    Error_Handler();
  }

}

static void MX_DMA_Init(void)
{

  /* DMA controller clock enable */
  __HAL_RCC_DMA1_CLK_ENABLE();

  /* DMA interrupt init */
  /* DMA1_Channel1_IRQn interrupt configuration */
  HAL_NVIC_SetPriority(DMA1_Channel1_IRQn, 0, 0);
  HAL_NVIC_EnableIRQ(DMA1_Channel1_IRQn);

}

static void MX_GPIO_Init(void)
{
  GPIO_InitTypeDef GPIO_InitStruct = {0};

  /* GPIO Ports Clock Enable */
  __HAL_RCC_GPIOC_CLK_ENABLE();
  __HAL_RCC_GPIOF_CLK_ENABLE();
  __HAL_RCC_GPIOA_CLK_ENABLE();
  __HAL_RCC_GPIOB_CLK_ENABLE();

  /*Configure GPIO pin Output Level */
  HAL_GPIO_WritePin(LCD_RESET_GPIO_Port, LCD_RESET_Pin, GPIO_PIN_RESET);

  /*Configure GPIO pin Output Level */
  HAL_GPIO_WritePin(GPIOB, LCD_DS_RS_Pin|LCD_CS_Pin, GPIO_PIN_RESET);

  /*Configure GPIO pin Output Level */
  HAL_GPIO_WritePin(GPIOB, LAN_CFG_Pin|LAN_RESET_Pin, GPIO_PIN_SET);

  /*Configure GPIO pin : PPS_Pin */
  GPIO_InitStruct.Pin = PPS_Pin;
  GPIO_InitStruct.Mode = GPIO_MODE_IT_RISING;
  GPIO_InitStruct.Pull = GPIO_NOPULL;
  HAL_GPIO_Init(PPS_GPIO_Port, &GPIO_InitStruct);

  /*Configure GPIO pin : ENC_KEY_Pin */
  GPIO_InitStruct.Pin = ENC_KEY_Pin;
  GPIO_InitStruct.Mode = GPIO_MODE_INPUT;
  GPIO_InitStruct.Pull = GPIO_NOPULL;
  HAL_GPIO_Init(ENC_KEY_GPIO_Port, &GPIO_InitStruct);

  /*Configure GPIO pin : LCD_RESET_Pin */
  GPIO_InitStruct.Pin = LCD_RESET_Pin;
  GPIO_InitStruct.Mode = GPIO_MODE_OUTPUT_PP;
  GPIO_InitStruct.Pull = GPIO_NOPULL;
  GPIO_InitStruct.Speed = GPIO_SPEED_FREQ_LOW;
  HAL_GPIO_Init(LCD_RESET_GPIO_Port, &GPIO_InitStruct);

  /*Configure GPIO pins : LCD_DS_RS_Pin LCD_CS_Pin LAN_CFG_Pin LAN_RESET_Pin */
  GPIO_InitStruct.Pin = LCD_DS_RS_Pin|LCD_CS_Pin|LAN_CFG_Pin|LAN_RESET_Pin;
  GPIO_InitStruct.Mode = GPIO_MODE_OUTPUT_PP;
  GPIO_InitStruct.Pull = GPIO_NOPULL;
  GPIO_InitStruct.Speed = GPIO_SPEED_FREQ_LOW;
  HAL_GPIO_Init(GPIOB, &GPIO_InitStruct);

}

void HAL_TIM_PeriodElapsedCallback(TIM_HandleTypeDef *htim)
{
  if (htim->Instance == TIM1)
  {
    HAL_IncTick();
  }
}

void Error_Handler(void)
{
  __disable_irq();
  while (1)
  {
  }
}
